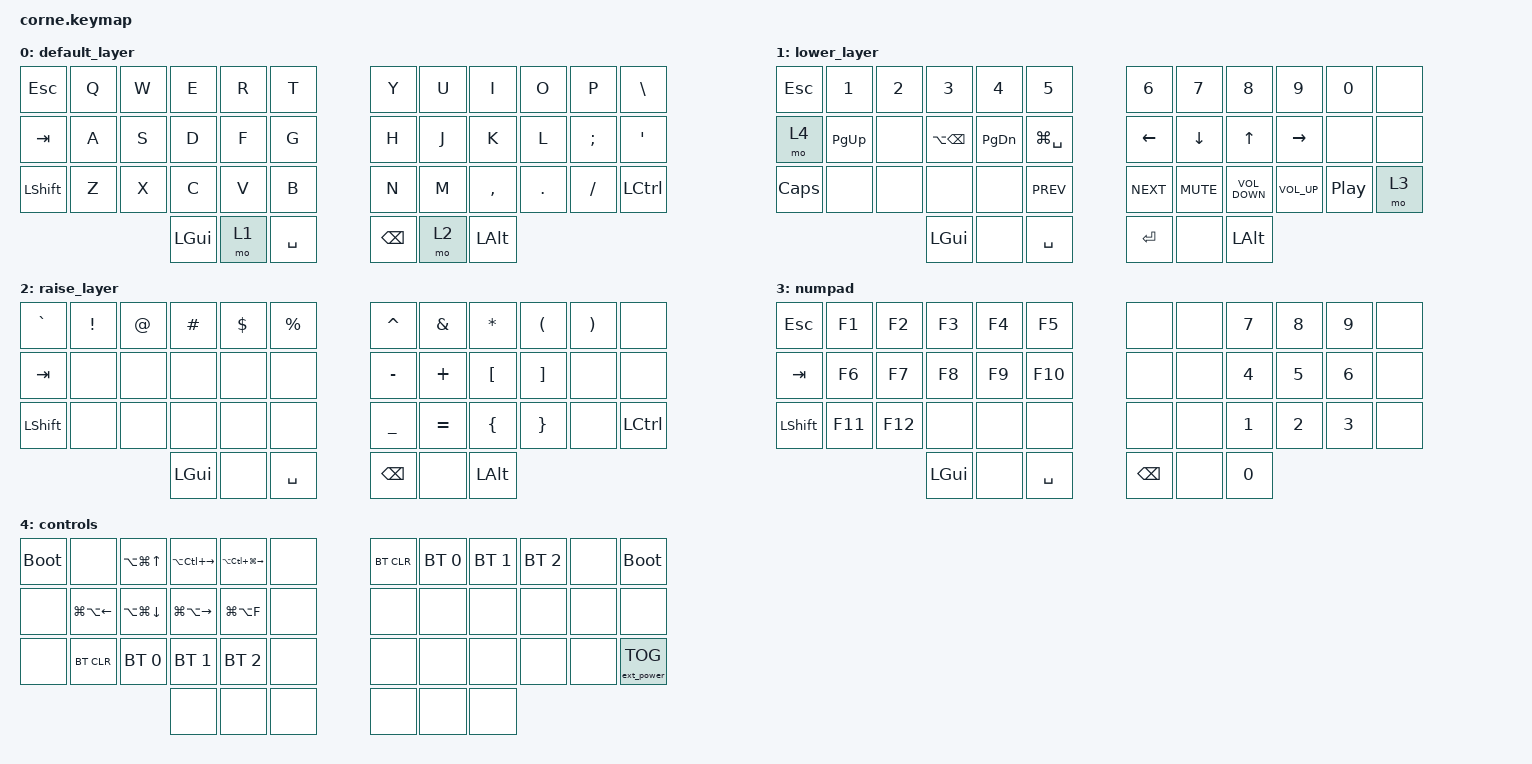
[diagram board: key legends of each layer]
/*
 * Copyright (c) 2020 The ZMK Contributors
 *
 * SPDX-License-Identifier: MIT
 */

#include <behaviors.dtsi>
#include <dt-bindings/zmk/bt.h>
#include <dt-bindings/zmk/ext_power.h>
#include <dt-bindings/zmk/keys.h>
#include <dt-bindings/zmk/rgb.h>

/ {
    combos { compatible = "zmk,combos"; };

    keymap {
        compatible = "zmk,keymap";

        default_layer {
            bindings = <
&kp ESCAPE  &kp Q  &kp W  &kp E     &kp R  &kp T        &kp Y          &kp U  &kp I         &kp O    &kp P     &kp BACKSLASH
&kp TAB     &kp A  &kp S  &kp D     &kp F  &kp G        &kp H          &kp J  &kp K         &kp L    &kp SEMI  &kp SQT
&kp LSHIFT  &kp Z  &kp X  &kp C     &kp V  &kp B        &kp N          &kp M  &kp COMMA     &kp DOT  &kp FSLH  &kp LEFT_CONTROL
                          &kp LGUI  &mo 1  &kp SPACE    &kp BACKSPACE  &mo 2  &kp LEFT_ALT
            >;
        };

        lower_layer {
            bindings = <
&kp ESCAPE    &kp NUMBER_1  &kp NUMBER_2  &kp NUMBER_3       &kp NUMBER_4   &kp NUMBER_5     &kp NUMBER_6    &kp NUMBER_7    &kp NUMBER_8       &kp NUMBER_9     &kp NUMBER_0  &none
&mo 4         &kp PAGE_UP   &none         &kp LA(BACKSPACE)  &kp PAGE_DOWN  &kp LG(SPACE)    &kp LEFT_ARROW  &kp DOWN_ARROW  &kp UP_ARROW       &kp RIGHT_ARROW  &none         &none
&kp CAPSLOCK  &none         &none         &none              &none          &kp C_PREV       &kp C_NEXT      &kp C_MUTE      &kp K_VOLUME_DOWN  &kp K_VOLUME_UP  &kp C_PP      &mo 3
                                          &kp LGUI           &none          &kp SPACE        &kp ENTER       &none           &kp LALT
            >;
        };

        raise_layer {
            bindings = <
&kp GRAVE  &kp EXCLAMATION  &kp AT  &kp HASH  &kp DOLLAR  &kp PERCENT    &kp CARET       &kp AMPERSAND  &kp ASTERISK      &kp LEFT_PARENTHESIS  &kp RIGHT_PARENTHESIS  &none
&kp TAB    &none            &none   &none     &none       &none          &kp MINUS       &kp PLUS       &kp LEFT_BRACKET  &kp RBKT              &none                  &none
&kp LSHFT  &none            &none   &none     &none       &none          &kp UNDERSCORE  &kp EQUAL      &kp LBRC          &kp RBRC              &none                  &kp LEFT_CONTROL
                                    &kp LGUI  &none       &kp SPACE      &kp BACKSPACE   &none          &kp LALT
            >;
        };

        numpad {
            bindings = <
&kp ESCAPE  &kp F1   &kp F2   &kp F3        &kp F4  &kp F5       &none          &none  &kp N7  &kp N8  &kp N9  &none
&kp TAB     &kp F6   &kp F7   &kp F8        &kp F9  &kp F10      &none          &none  &kp N4  &kp N5  &kp N6  &none
&kp LSHIFT  &kp F11  &kp F12  &none         &none   &none        &none          &none  &kp N1  &kp N2  &kp N3  &none
                              &kp LEFT_GUI  &none   &kp SPACE    &kp BACKSPACE  &none  &kp N0
            >;
        };

        controls {
            bindings = <
&bootloader  &none             &kp LA(LG(UP_ARROW))    &kp LA(LC(RIGHT_ARROW))  &kp LA(LC(LG(RIGHT_ARROW)))  &none    &bt BT_CLR       &bt BT_SEL 0     &bt BT_SEL 1     &bt BT_SEL 2     &none  &bootloader
&none        &kp LG(LA(LEFT))  &kp LA(LG(DOWN_ARROW))  &kp LG(LA(RIGHT))        &kp LG(LA(F))                &none    &none            &none            &none            &none            &none  &none
&none        &bt BT_CLR        &bt BT_SEL 0            &bt BT_SEL 1             &bt BT_SEL 2                 &none    &none            &none            &none            &none            &none  &ext_power EP_TOG
                                                       &none                    &none                        &none    &none            &none            &none
            >;
        };
    };

    conditional_layers { compatible = "zmk,conditional-layers"; };
};

// LEDs are per half for split keyboards

// &led_strip { chain-length = <27>; };
